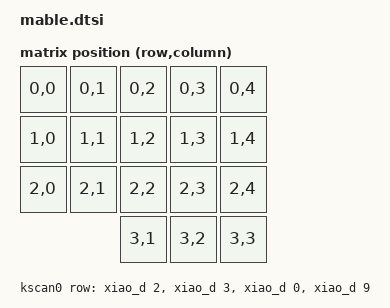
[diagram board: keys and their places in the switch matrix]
/*
 * Copyright (c) 2020 The ZMK Contributors
 *
 * SPDX-License-Identifier: MIT
 */

#include <dt-bindings/zmk/matrix_transform.h>

/ {
    chosen {
        zmk,kscan = &kscan0;
        zmk,matrix_transform = &default_transform;
        /* /delete-property/ zephyr,console; */
        /* /delete-property/ zephyr,shell-uart; */
    };

    default_transform: keymap_transform_0 {
        compatible = "zmk,matrix-transform";
        columns = <5>;
        rows = <4>;
        map = <
            RC(0,0) RC(0,1) RC(0,2) RC(0,3) RC(0,4)
            RC(1,0) RC(1,1) RC(1,2) RC(1,3) RC(1,4)
            RC(2,0) RC(2,1) RC(2,2) RC(2,3) RC(2,4)
                            RC(3,1) RC(3,2) RC(3,3)
            >;
    };

    kscan0: kscan_0 {
        compatible = "zmk,kscan-gpio-matrix";
        label = "KSCAN";

        diode-direction = "col2row";
        row-gpios
            = <&xiao_d 2 (GPIO_ACTIVE_HIGH | GPIO_PULL_DOWN)>
            , <&xiao_d 3 (GPIO_ACTIVE_HIGH | GPIO_PULL_DOWN)>
            , <&xiao_d 0 (GPIO_ACTIVE_HIGH | GPIO_PULL_DOWN)>
            , <&xiao_d 9 (GPIO_ACTIVE_HIGH | GPIO_PULL_DOWN)>
            ;
    };

};

&xiao_spi { status = "disabled"; };
&xiao_i2c { status = "disabled"; };
&xiao_serial { status = "disabled"; };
